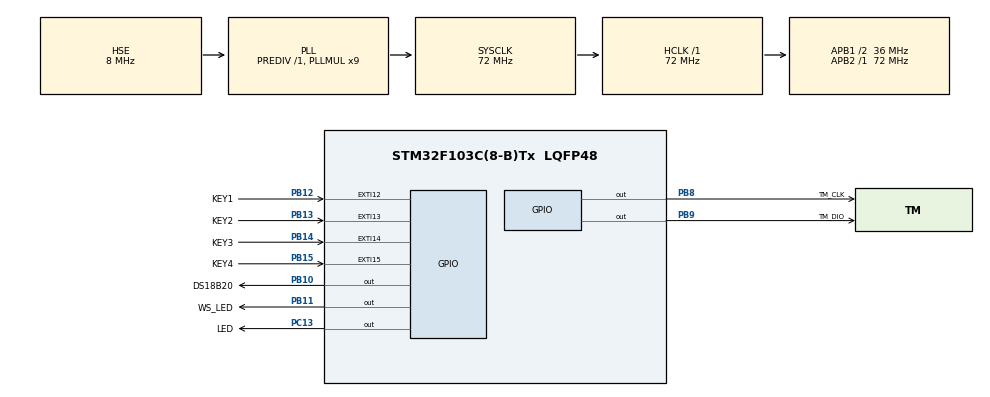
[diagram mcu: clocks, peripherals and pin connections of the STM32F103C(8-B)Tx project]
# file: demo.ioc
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Mcu.Family=STM32F1
Mcu.Name=STM32F103C(8-B)Tx
Mcu.Package=LQFP48
NVIC.EXTI15_10_IRQn=true\:1\:0\:true\:false\:true\:true\:true
NVIC.PriorityGroup=NVIC_PRIORITYGROUP_4
PA13.Mode=Serial_Wire
PA13.Signal=SYS_JTMS-SWDIO
PA14.Mode=Serial_Wire
PA14.Signal=SYS_JTCK-SWCLK
PB10.GPIO_Label=DS18B20
PB10.GPIO_Speed=GPIO_SPEED_FREQ_HIGH
PB10.PinState=GPIO_PIN_SET
PB10.Signal=GPIO_Output
PB11.GPIO_Label=WS_LED
PB11.GPIO_Speed=GPIO_SPEED_FREQ_HIGH
PB11.Signal=GPIO_Output
PB12.GPIO_Label=KEY1
PB12.GPIO_PuPd=GPIO_PULLDOWN
PB12.Signal=GPXTI12
PB13.GPIO_Label=KEY2
PB13.GPIO_PuPd=GPIO_PULLDOWN
PB13.Signal=GPXTI13
PB14.GPIO_Label=KEY3
PB14.GPIO_PuPd=GPIO_PULLDOWN
PB14.Signal=GPXTI14
PB15.GPIO_Label=KEY4
PB15.GPIO_PuPd=GPIO_PULLDOWN
PB15.Signal=GPXTI15
PB8.GPIO_Label=TM_CLK
PB8.GPIO_Speed=GPIO_SPEED_FREQ_HIGH
PB8.PinState=GPIO_PIN_SET
PB8.Signal=GPIO_Output
PB9.GPIO_Label=TM_DIO
PB9.GPIO_Speed=GPIO_SPEED_FREQ_HIGH
PB9.PinState=GPIO_PIN_SET
PB9.Signal=GPIO_Output
PC13-TAMPER-RTC.GPIO_Label=LED
PC13-TAMPER-RTC.GPIO_Speed=GPIO_SPEED_FREQ_HIGH
PC13-TAMPER-RTC.PinState=GPIO_PIN_SET
PC13-TAMPER-RTC.Signal=GPIO_Output
PD0-OSC_IN.Mode=HSE-External-Oscillator
PD0-OSC_IN.Signal=RCC_OSC_IN
PD1-OSC_OUT.Mode=HSE-External-Oscillator
PD1-OSC_OUT.Signal=RCC_OSC_OUT
ProjectManager.HeapSize=0x200
ProjectManager.StackSize=0x400
ProjectManager.TargetToolchain=STM32CubeIDE
RCC.AHBFreq_Value=72000000
RCC.APB1CLKDivider=RCC_HCLK_DIV2
RCC.APB1Freq_Value=36000000
RCC.APB1TimFreq_Value=72000000
RCC.APB2Freq_Value=72000000
RCC.APB2TimFreq_Value=72000000
RCC.HCLKFreq_Value=72000000
RCC.PLLMUL=RCC_PLL_MUL9
RCC.PLLSourceVirtual=RCC_PLLSOURCE_HSE
RCC.SYSCLKFreq_VALUE=72000000
RCC.SYSCLKSource=RCC_SYSCLKSOURCE_PLLCLK
RCC.USBFreq_Value=72000000
board=custom

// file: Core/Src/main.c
/* USER CODE BEGIN Header */
/**
  ******************************************************************************
  * @file           : main.c
  * @brief          : Main program body
  ******************************************************************************
  * @attention
  *
  * <h2><center>&copy; Copyright (c) 2020 STMicroelectronics.
  * All rights reserved.</center></h2>
  *
  * This software component is licensed by ST under BSD 3-Clause license,
  * the "License"; You may not use this file except in compliance with the
  * License. You may obtain a copy of the License at:
  *                        opensource.org/licenses/BSD-3-Clause
  *
  ******************************************************************************
  */
/* USER CODE END Header */
#include "main.h"
#include "gpio.h"

/* USER CODE BEGIN Includes */
#include "tube.h"
#include "ws2812.h"
#include "ds18b20.h"
/* USER CODE END Includes */

/* USER CODE BEGIN PV */
uint8_t num[]={0x3f,0x06,0x5b,0x4f,0x66,0x6d,0x7d,0x07,0x7f,0x6f};	//0-9
uint8_t num1[]={0xbf,0x86,0xdb,0xcf,0xe6,0xed,0xfd,0x87,0xff,0xef};	//0:-9:
uint8_t tube[4] = {0};
int8_t hour = 0, minute = 0, second = 0;

uint8_t KEY_FLAG = 0;

uint8_t index = 0;
uint16_t temperature = 0;
uint32_t colors[] = {0x1725e8,0x178ee8,0x17e8d1,0x17e820,0x76e817,0xe8e717,0xe87617,0xe81917};
/* USER CODE END PV */

void SystemClock_Config(void);
/* USER CODE BEGIN PFP */
void clock_display(void);
void temp_display(void);
void my_tick(void);
void disdate(void);
/* USER CODE END PFP */

int main(void)
{

  /* MCU Configuration--------------------------------------------------------*/

  /* Reset of all peripherals, Initializes the Flash interface and the Systick. */
  HAL_Init();

  /* Configure the system clock */
  SystemClock_Config();

  /* Initialize all configured peripherals */
  MX_GPIO_Init();
  /* USER CODE BEGIN 2 */
  ws281x_Init();
  ALIX_Delay_init();
  while(DS18B20_Init());
  /* USER CODE END 2 */

  /* Infinite loop */
  while (1)
  {

    /* USER CODE BEGIN 3 */
	  if(KEY_FLAG == 0) clock_display();
	  else disdate();
	  temp_display();
	  my_tick();
  }
  /* USER CODE END 3 */
}

void SystemClock_Config(void)
{
  RCC_OscInitTypeDef RCC_OscInitStruct = {0};
  RCC_ClkInitTypeDef RCC_ClkInitStruct = {0};

  /** Initializes the RCC Oscillators according to the specified parameters
  * in the RCC_OscInitTypeDef structure.
  */
  RCC_OscInitStruct.OscillatorType = RCC_OSCILLATORTYPE_HSE;
  RCC_OscInitStruct.HSEState = RCC_HSE_ON;
  RCC_OscInitStruct.HSEPredivValue = RCC_HSE_PREDIV_DIV1;
  RCC_OscInitStruct.HSIState = RCC_HSI_ON;
  RCC_OscInitStruct.PLL.PLLState = RCC_PLL_ON;
  RCC_OscInitStruct.PLL.PLLSource = RCC_PLLSOURCE_HSE;
  RCC_OscInitStruct.PLL.PLLMUL = RCC_PLL_MUL9;
  if (HAL_RCC_OscConfig(&RCC_OscInitStruct) != HAL_OK)
  {
    Error_Handler();
  }
  /** Initializes the CPU, AHB and APB buses clocks
  */
  RCC_ClkInitStruct.ClockType = RCC_CLOCKTYPE_HCLK|RCC_CLOCKTYPE_SYSCLK
                              |RCC_CLOCKTYPE_PCLK1|RCC_CLOCKTYPE_PCLK2;
  RCC_ClkInitStruct.SYSCLKSource = RCC_SYSCLKSOURCE_PLLCLK;
  RCC_ClkInitStruct.AHBCLKDivider = RCC_SYSCLK_DIV1;
  RCC_ClkInitStruct.APB1CLKDivider = RCC_HCLK_DIV2;
  RCC_ClkInitStruct.APB2CLKDivider = RCC_HCLK_DIV1;

  if (HAL_RCC_ClockConfig(&RCC_ClkInitStruct, FLASH_LATENCY_2) != HAL_OK)
  {
    Error_Handler();
  }
}

/* USER CODE BEGIN 4 */
void clock_display(void)
{
	tube[3] = num[minute % 10];
	tube[2] = num[minute / 10 % 10];
	if(second % 2 == 0){
		tube[1] = num1[hour % 10];
	} else {
		tube[1] = num[hour % 10];
	}
	tube[0] = num[hour / 10 % 10];
	TMSegDisplay(tube);
	HAL_GPIO_TogglePin(LED_GPIO_Port, LED_Pin);

}

void temp_display(void)
{
	temperature = DS18B20_Get_Temp();
	index = (temperature - 200) / 20;
	if(index >= sizeof(colors) / sizeof(colors[0]))
		index = sizeof(colors) / sizeof(colors[0]) - 1;
	ws281x_Play(colors, index);
}

void my_tick(void)
{
	second++;
	if(second == 60){
		second = 0;
		minute++;
	}
	if(minute == 60){
		minute = 0;
		hour++;
	}
	if(hour == 24){
		hour = 0;
	}
	ALIX_Delay_us(1000000);
}

void disdate(void)
{
	switch(KEY_FLAG)
	{
	case 1:
		{
			if(second % 2 == 0){
				tube[1] = num[hour % 10];
				tube[0] = num[hour / 10 % 10];
			} else {
				tube[1] = 0;
				tube[0] = 0;
			}
			tube[3] = num[minute % 10];
			tube[2] = num[minute / 10 % 10];
		}
		break;
	case 2:
		{
			if(second % 2 == 0){
				tube[3] = num[minute % 10];
				tube[2] = num[minute / 10 % 10];
			} else {
				tube[3] = 0;
				tube[2] = 0;
			}
			tube[1] = num[hour % 10];
			tube[0] = num[hour / 10 % 10];
		}
		break;
	default:break;
	}
	TMSegDisplay(tube);
	HAL_GPIO_TogglePin(LED_GPIO_Port, LED_Pin);
}

void HAL_GPIO_EXTI_Callback(uint16_t GPIO_Pin)
{
	switch(GPIO_Pin)
	{
	case KEY1_Pin:
		if(HAL_GPIO_ReadPin(KEY1_GPIO_Port, KEY1_Pin) == GPIO_PIN_SET){
			KEY_FLAG++;
			if(KEY_FLAG > 2) KEY_FLAG = 0;
		}
		break;
	case KEY2_Pin:
		if((HAL_GPIO_ReadPin(KEY2_GPIO_Port, KEY2_Pin) == GPIO_PIN_SET) && (KEY_FLAG == 1)){
			hour++;
			if(hour >= 24) hour = 0;
		}
		if((HAL_GPIO_ReadPin(KEY2_GPIO_Port, KEY2_Pin) == GPIO_PIN_SET) && (KEY_FLAG == 2)){
			minute++;
			if(minute >= 60) minute = 0;
		}
		break;
	case KEY3_Pin:
		if((HAL_GPIO_ReadPin(KEY3_GPIO_Port, KEY3_Pin) == GPIO_PIN_SET) && (KEY_FLAG == 1)){
			hour--;
			if(hour < 0) hour = 23;
		}
		if((HAL_GPIO_ReadPin(KEY3_GPIO_Port, KEY3_Pin) == GPIO_PIN_SET) && (KEY_FLAG == 2)){
			minute--;
			if(minute < 0) minute = 59;
		}
		break;
	case KEY4_Pin:
		if(HAL_GPIO_ReadPin(KEY4_GPIO_Port, KEY4_Pin) == GPIO_PIN_SET){
		}
		break;
	default:break;
	}

}

/* USER CODE END 4 */

void Error_Handler(void)
{
}

/************************ (C) COPYRIGHT STMicroelectronics *****END OF FILE****/
